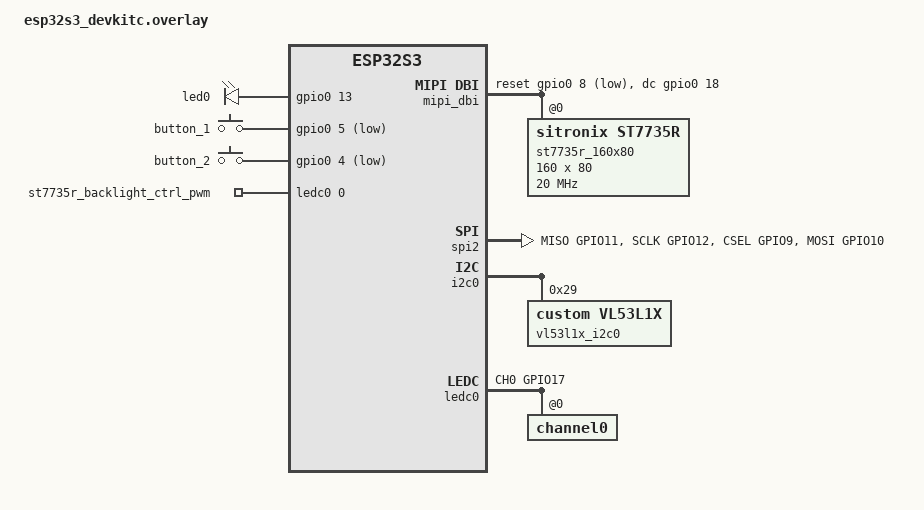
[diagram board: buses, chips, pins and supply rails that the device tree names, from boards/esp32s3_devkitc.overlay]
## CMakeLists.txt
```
cmake_minimum_required(VERSION 3.20.0)

set(ZEPHYR_EXTRA_MODULES "${CMAKE_SOURCE_DIR}/../../modules/vl53l1x")

find_package(Zephyr REQUIRED HINTS $ENV{ZEPHYR_BASE})
project(measuring_tape)

FILE(GLOB app_sources src/*.c)
target_sources(app PRIVATE ${app_sources})
```

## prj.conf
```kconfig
CONFIG_I2C=y
CONFIG_GPIO=y
CONFIG_CUSTOM_VL53L1X=y
# CONFIG_CUSTOM_VL53L1X_INTERRUPT_MODE is not set
# CONFIG_CUSTOM_VL53L1X_XSHUT is not set
CONFIG_PWM=y
CONFIG_LOG=y
CONFIG_LOG_DEFAULT_LEVEL=3
# Needed for display and LVGL (prevent stack overflow and crash)
CONFIG_MAIN_STACK_SIZE=4096

# Enable display driver (ST7735R)
CONFIG_DISPLAY=y

# Configure LVGL
CONFIG_LVGL=y
CONFIG_LV_MEM_CUSTOM=y
CONFIG_LV_Z_BITS_PER_PIXEL=16
CONFIG_LV_COLOR_16_SWAP=y
CONFIG_LV_Z_MEM_POOL_SIZE=8192

# Enable LVGL widgets
CONFIG_LV_CONF_MINIMAL=y
CONFIG_LV_USE_LABEL=y
CONFIG_LV_LABEL_TEXT_SELECTION=y
CONFIG_LV_LABEL_LONG_TXT_HINT=y
CONFIG_LV_USE_LINE=y

# Enable font support
CONFIG_LV_FONT_MONTSERRAT_20=y
```

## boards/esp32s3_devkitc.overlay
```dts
#include <zephyr/dt-bindings/mipi_dbi/mipi_dbi.h>
#include <zephyr/dt-bindings/pwm/pwm.h>

/ {
    aliases {
        my-led = &led0;
        distance-sensor = &vl53l1x_i2c0;
        trigger-button = &button_1;
        backlight-ctrl = &st7735r_backlight_ctrl_pwm;
        backlight-button = &button_2;
        // pwm0 = &pwm0;
    };

    chosen {
        zephyr,display = &st7735r_160x80;
    };

    leds {
        compatible = "gpio-leds";
        led0: d13 {
            gpios = <&gpio0 13 GPIO_ACTIVE_HIGH>;
        };
    };

    buttons {
        compatible = "gpio-keys";
        
        button_1: d5 {
            gpios = <&gpio0 5 (GPIO_ACTIVE_LOW | GPIO_PULL_UP)>;
        };
        button_2: d4 {
            gpios = <&gpio0 4 (GPIO_ACTIVE_LOW | GPIO_PULL_UP)>;
        };
    };

    mipi_dbi {
        compatible = "zephyr,mipi-dbi-spi";
        spi-dev = <&spi2>;
        dc-gpios = <&gpio0 18 GPIO_ACTIVE_HIGH>;
        reset-gpios = <&gpio0 8 GPIO_ACTIVE_LOW>;
        #address-cells = <1>;
        #size-cells = <0>;

        st7735r_160x80: st7735r@0 {
            compatible = "sitronix,st7735r";
            reg = <0>;
            mipi-max-frequency = <20000000>;
			mipi-mode = <MIPI_DBI_MODE_SPI_4WIRE>;
			reg = <0>;
			width = <160>;
			height = <80>;
			inversion-on;
			rgb-is-inverted;
			x-offset = <1>;
			y-offset = <26>;
			pwctr1 = [A2 02 84];
			pwctr2 = [C5];
			pwctr3 = [0A 00];
			pwctr4 = [8A 2A];
			pwctr5 = [8A EE];
			invctr = <7>;
			frmctr1 = [01 2C 2D];
			frmctr2 = [01 2C 2D];
			frmctr3 = [01 2C 2D 01 2C 2D];
			vmctr1 = <14>;
			gamctrp1 = [02 1C 07 12 37 32 29 2D 29 25 2B 39 00 01 03 10];
			gamctrn1 = [03 1D 07 06 2E 2C 29 2D 2E 2E 37 3F 00 00 02 10];
			colmod = <5>;
			/* Set D3 (RGB) bit to 1. LV_COLOR_16_SWAP is enabled by default */
			madctl = <184>; /* Set to <120> to rotate the image 180 degrees. */
			caset = [00 01 00 a0];
			raset = [00 1a 00 69];
        };
    };

    backlight_ctrl {
        compatible = "pwm-leds";
        st7735r_backlight_ctrl_pwm: st7735r_backlight_ctrl_pwm {
            pwms = <&ledc0 0 PWM_MSEC(1) PWM_POLARITY_NORMAL>;
        };
    };
};

&pinctrl {
    i2c0_custom_pins: i2c0_custom_pins {
        group1 {
            pinmux = <I2C0_SDA_GPIO15>, <I2C0_SCL_GPIO16>;	// SDA on GPIO15, SCL on GPIO16
            bias-pull-up; 									// Enable pull-up resistors for both pins
            drive-open-drain; 								// Required for I2C
            output-high; 									// Start with lines high (inactive state)
        };
    };

    spi2_custom_pins: spi2_custom_pins {
		group1 {
			pinmux = <SPIM2_MISO_GPIO11>,
				 <SPIM2_SCLK_GPIO12>,
				 <SPIM2_CSEL_GPIO9>;
		};
		group2 {
			pinmux = <SPIM2_MOSI_GPIO10>;
			output-low;
		};
	};

    ledc0_default: ledc0_default {
        group1 {
            pinmux = <LEDC_CH0_GPIO17>;
			output-enable;
        };
    };
};

&spi2 {
    pinctrl-0 = <&spi2_custom_pins>;
    status = "okay";
};

&i2c0 {
    pinctrl-0 = <&i2c0_custom_pins>;
    status = "okay";

    vl53l1x_i2c0: vl53l1x@29 {
        compatible = "custom,vl53l1x";
        reg = < 0x29 >;
        status = "okay";
    };
};

&ledc0 {
	pinctrl-0 = <&ledc0_default>;
	pinctrl-names = "default";
	status = "okay";
	#address-cells = <1>;
	#size-cells = <0>;
	channel0@0 {
		reg = <0x0>;
		timer = <0>;
	};
};
```

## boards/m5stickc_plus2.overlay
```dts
/ {
    aliases {
        my-led = &red_led;
        distance-sensor = &vl53l1x_i2c1;
        trigger-button = &user_button_0_A;
		backlight-ctrl = &tft_backlight_ctrl_pwm_gpio27;
		backlight-button = &user_button_1_B;
    };

	backlight_ctrl {
        compatible = "pwm-leds";
        tft_backlight_ctrl_pwm_gpio27: tft_backlight_ctrl_pwm_gpio27 {
            pwms = <&ledc0 0 PWM_MSEC(1) PWM_POLARITY_NORMAL>;
        };
    };
};

&pinctrl {
    i2c1_default: i2c1_default {
		group1 {
			pinmux = <I2C1_SDA_GPIO26>,
				 <I2C1_SCL_GPIO0>;
			bias-pull-up;
			drive-open-drain;
			output-high;
		};
	};

	ledc0_default: ledc0_default {
        group1 {
            pinmux = <LEDC_CH0_GPIO27>;
			output-enable;
        };
    };
};

&i2c1 {
    status = "okay";
	clock-frequency = <I2C_BITRATE_FAST>;
	sda-gpios = <&gpio0 26 GPIO_OPEN_DRAIN>;
	scl-gpios = <&gpio0 0 GPIO_OPEN_DRAIN>;
	pinctrl-0 = <&i2c1_default>;
	scl-timeout-us = <0>;
	pinctrl-names = "default";

    vl53l1x_i2c1: vl53l1x@29 {
        compatible = "custom,vl53l1x";
        reg = < 0x29 >;
        status = "okay";
    };
};

&ledc0 {
	pinctrl-0 = <&ledc0_default>;
	pinctrl-names = "default";
	status = "okay";
	#address-cells = <1>;
	#size-cells = <0>;
	channel0@0 {
		reg = <0x0>;
		timer = <0>;
	};
};
```

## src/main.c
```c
#include <stdio.h>
#include <zephyr/kernel.h>
#include <zephyr/drivers/gpio.h>

#include "distance_sensor.h"
#include "tft_display.h"

#define DEBOUNCE_DELAY_MS 50
static const int32_t sleep_time_ms = 50;        // Target 20 FPS

static const struct gpio_dt_spec btn = GPIO_DT_SPEC_GET(DT_ALIAS(trigger_button), gpios);
static const struct gpio_dt_spec backlight_btn = GPIO_DT_SPEC_GET(DT_ALIAS(backlight_button), gpios);


K_MUTEX_DEFINE(distance_mutex);

static struct gpio_callback btn_cb_data;
static struct k_work_delayable button_work;

static struct gpio_callback backlight_btn_cb_data;
static struct k_work_delayable backlight_button_work;

static int32_t global_distance_mm = -1;
static int32_t global_backlight_duty_cycle = -1;

// GPIO ISR
void button_isr(const struct device *dev,
                struct gpio_callback *cb,
                uint32_t pins)
{
    k_work_reschedule(&button_work, K_MSEC(DEBOUNCE_DELAY_MS));
}

void sensor_work_handler(struct k_work *work) {
    int ret;
    int button_state;
    int32_t distance_mm;

    button_state = gpio_pin_get_dt(&btn);
    // only read distance if button is still pressed (after debounce delay)
    if (button_state) {
        ret = distance_sensor_get_distance_mm(&distance_mm);
        if (ret < 0) {
            printk("ERROR: could not get distance, error: %d\n", ret);
        } 
        else {
            // update the global variable
            k_mutex_lock(&distance_mutex, K_FOREVER);
            global_distance_mm = distance_mm;
            k_mutex_unlock(&distance_mutex);
            
            printk("Distance: %d mm\n", distance_mm);
        }
    }
    
}

// Backlight GPIO ISR
void backlight_button_isr(const struct device *dev,
                struct gpio_callback *cb,
                uint32_t pins)
{
    k_work_reschedule(&backlight_button_work, K_MSEC(DEBOUNCE_DELAY_MS));
}

void backlight_work_handler(struct k_work *work) {
    int ret;
    int button_state;

    button_state = gpio_pin_get_dt(&backlight_btn);
    // only perform work if button is still pressed (after debounce delay)
    if (button_state) {
        global_backlight_duty_cycle -= TFT_DISPLAY_BACKLIGHT_CHANGE_VAL;
        // reset to max if min is exceeded
        if (global_backlight_duty_cycle < TFT_DISPLAY_BACKLIGHT_MIN_VAL) {
            global_backlight_duty_cycle = TFT_DISPLAY_BACKLIGHT_MAX_VAL;
        }
        ret = tft_display_set_backlight_pwm(global_backlight_duty_cycle);
        if (ret != 0) {
            printk("ERROR setting PWM duty cycle: %d\r\n", ret);
            return;
        }
    }
}

// returns -1 if mutex is locked, otherwise returns current distance
int32_t get_latest_distance_nonblocking(void) {
    int ret;
    int32_t distance;
    
    ret = k_mutex_lock(&distance_mutex, K_NO_WAIT);
    if (ret != 0) {
        // mutex locked, try again later
        return -1; 
    }
    distance = global_distance_mm;
    k_mutex_unlock(&distance_mutex);
    return distance;
}

int main (void)
{
    int ret;
    int32_t distance; 
    char buf[11] = {0};

    // initialize the distance sensor
    if (distance_sensor_init() != 0) {
        printk("ERROR: could not initialize distance sensor\n");
        return 0;
    }

    // Initialize work items
    k_work_init_delayable(&button_work, sensor_work_handler);
    k_work_init_delayable(&backlight_button_work, backlight_work_handler);

    // initialize trigger button and isr
    if (!gpio_is_ready_dt(&btn)) {
        printk("ERROR: button not ready\r\n");
        return 0;
    }

    // Set the button as input (apply extra flags if needed)
    ret = gpio_pin_configure_dt(&btn, GPIO_INPUT);
    if (ret < 0) {
        printk("ERROR: could not set button as input\r\n");
        return 0;
    }

    // Configure the interrupt
    ret = gpio_pin_interrupt_configure_dt(&btn, GPIO_INT_EDGE_TO_ACTIVE);
    if (ret < 0) {
        printk("ERROR: could not configure button as interrupt source\r\n");
        return 0;
    }

    // Connect callback function (ISR) to interrupt source
    gpio_init_callback(&btn_cb_data, button_isr, BIT(btn.pin));
    gpio_add_callback(btn.port, &btn_cb_data);

    // initialize backlight button and isr
    if (!gpio_is_ready_dt(&backlight_btn)) {
        printk("ERROR: button not ready\r\n");
        return 0;
    }

    // Set the button as input (apply extra flags if needed)
    ret = gpio_pin_configure_dt(&backlight_btn, GPIO_INPUT);
    if (ret < 0) {
        printk("ERROR: could not set button as input\r\n");
        return 0;
    }

    // Configure the interrupt
    ret = gpio_pin_interrupt_configure_dt(&backlight_btn, GPIO_INT_EDGE_TO_ACTIVE);
    if (ret < 0) {
        printk("ERROR: could not configure button as interrupt source\r\n");
        return 0;
    }

    // Connect callback function (ISR) to interrupt source
    gpio_init_callback(&backlight_btn_cb_data, backlight_button_isr, BIT(backlight_btn.pin));
    gpio_add_callback(backlight_btn.port, &backlight_btn_cb_data);

    // initialize the TFT display
    if (tft_display_init() != 0) {
        printk("ERROR: coudl not initialize TFT display\n");
        return 0;
    }
    // set backlight pwm pulse width
    global_backlight_duty_cycle = TFT_DISPLAY_BACKLIGHT_MIN_VAL;
    ret = tft_display_set_backlight_pwm(global_backlight_duty_cycle);
    if (ret != 0) {
        printk("ERROR setting PWM duty cycle: %d\r\n", ret);
		return 0;
    }

    while (1) {
        // update the measurement if required
        distance = get_latest_distance_nonblocking();
        if (distance >= 0) {
            sprintf(buf, "%d", distance);
            if (tft_display_set_measurement_text(buf) != 0) {
                printk("ERROR: could not set measurement text on display\n");
            }
        }

        // Must be called periodically
		tft_display_task_handler();

        k_msleep(sleep_time_ms);
    }

    return 0;
}
```

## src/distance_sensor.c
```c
#include <zephyr/kernel.h>
#include <zephyr/device.h>
#include <zephyr/drivers/sensor.h>

#include "distance_sensor.h"

static const struct device *const vl53l1x = DEVICE_DT_GET(DT_ALIAS(distance_sensor));

int distance_sensor_init(void) {
    // check if sensor is ready
    if (!device_is_ready(vl53l1x)) {
        printk("ERROR: device is not ready: %s\n", vl53l1x->name);
        return -1;
    }
    return 0;
}


// returns 0 on success, error code on failure
// distance_mm is in millimeters
int distance_sensor_get_distance_mm(int32_t *distance_mm) {
    int ret;
    struct sensor_value distance_reading;

    ret = sensor_sample_fetch(vl53l1x);
    if (ret < 0) {
        printk("ERROR: fetching sample for device: %s, error: %d\n", vl53l1x->name, ret);
        return ret;
    }

    ret = sensor_channel_get(
        vl53l1x, 
        SENSOR_CHAN_DISTANCE,
        &distance_reading
    );
    if (ret < 0) {
        printk("ERROR: getting channel for device: %s, error: %d\n", vl53l1x->name, ret);
        return ret;
    }

    *distance_mm = (distance_reading.val1 * 1000) + (distance_reading.val2 / 1000);
    return 0;
}
```

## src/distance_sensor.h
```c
#ifndef DISTANCE_SENSOR_H_
#define DISTANCE_SENSOR_H_

int distance_sensor_init(void);
int distance_sensor_get_distance_mm(int32_t *distance_mm);

#endif // DISTANCE_SENSOR_H_
```

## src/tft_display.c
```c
#include <zephyr/kernel.h>

#include <zephyr/drivers/pwm.h>
#include <zephyr/drivers/display.h>
#include <lvgl.h>
#include <string.h>

#include "tft_display.h"

static const struct pwm_dt_spec backlight_pwm = PWM_DT_SPEC_GET(DT_ALIAS(backlight_ctrl));
static lv_obj_t *measurement_label;

int tft_display_init(void) {
    const struct device *display;
    lv_obj_t *unit_label;
    static lv_style_t measurement_label_style;  // must be static: LVGL stores a pointer to the style struct and expects that style object to remain valid for as long as any widget uses it

    // Initialize the display
    display = DEVICE_DT_GET(DT_CHOSEN(zephyr_display));
    if (!device_is_ready(display)) {
        printk("Error: display not ready\r\n");
        return -1;
    }

    // create units label
    unit_label = lv_label_create(lv_scr_act());
    lv_label_set_text(unit_label, "mm");
    lv_obj_align(unit_label, LV_ALIGN_RIGHT_MID, -35, 5);
#ifdef CONFIG_BOARD_M5STICKC_PLUS2
    lv_obj_align(unit_label, LV_ALIGN_RIGHT_MID, -25, 5);
#endif

    // Adjust style for measurement label
	lv_style_init(&measurement_label_style);
	lv_style_set_text_font(&measurement_label_style, &lv_font_montserrat_20);

    // create measurement label
    measurement_label = lv_label_create(lv_scr_act());
    lv_obj_add_style(measurement_label, &measurement_label_style, 0);
    lv_label_set_text(measurement_label, "0");
    lv_obj_align(measurement_label, LV_ALIGN_CENTER, 0, 0);

    // Disable display blanking
    display_blanking_off(display);

    // Make sure backlight pwm was initialized
    if (!pwm_is_ready_dt(&backlight_pwm)) {
		printk("PWM is not ready\r\n");
		return -1;
	}

    return 0;
}

// set display backlight based on the duty cycle percentage
// duty_cycle is in percentage (0-100)
int tft_display_set_backlight_pwm(uint32_t duty_cycle) {
    int ret;
    uint32_t backlight_period;

    backlight_period = (uint32_t)(backlight_pwm.period * (duty_cycle/100.0));
    ret = pwm_set_dt(&backlight_pwm, backlight_pwm.period, backlight_period);
    if (ret) {
        printk("Error %d: failed to set pulse width\n", ret);
        return -1;
    }
    printk("Setting backlight pulse period to %d / %d ns\n", backlight_period, backlight_pwm.period);
    return 0;
}

// update the measurement label with the given text
int tft_display_set_measurement_text(const char *text) {
    if (measurement_label == NULL) {
        printk("Error: measurement label is not initialized\n");
        return -1;
    }

    // Set the text of the measurement label
    lv_label_set_text(measurement_label, text);
    return 0;
}

void tft_display_task_handler(void) {
    // Must be called periodically
	lv_task_handler();
}
```

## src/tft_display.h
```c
#ifndef TFT_DISPLAY_H_
#define TFT_DISPLAY_H_

// backlight defines based on device
#ifdef CONFIG_BOARD_M5STICKC_PLUS2
#define TFT_DISPLAY_BACKLIGHT_MAX_VAL 100
#define TFT_DISPLAY_BACKLIGHT_MIN_VAL 35
#define TFT_DISPLAY_BACKLIGHT_CHANGE_VAL 15
#else
#define TFT_DISPLAY_BACKLIGHT_MAX_VAL 45
#define TFT_DISPLAY_BACKLIGHT_MIN_VAL 5
#define TFT_DISPLAY_BACKLIGHT_CHANGE_VAL 10
#endif

int tft_display_init(void);
int tft_display_set_backlight_pwm(uint32_t duty_cycle);
int tft_display_set_measurement_text(const char *text);
void tft_display_task_handler(void);

#endif // TFT_DISPLAY_H_
```
